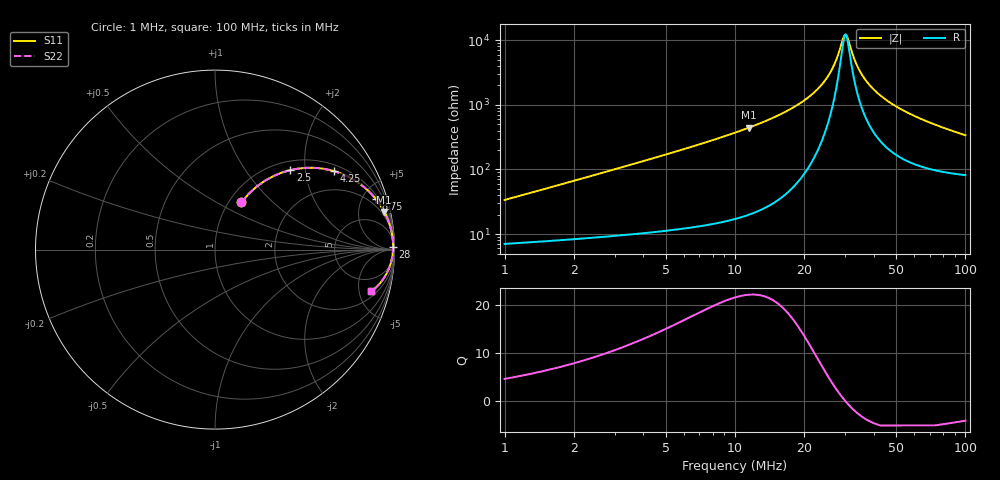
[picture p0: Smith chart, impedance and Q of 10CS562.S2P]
! Coilcraft 1008CS-562 Chip Inductor
! 02 July 2002
# MHZ S MA R 50
!Freq  MagS11  AngS11  MagS21  AngS21  MagS12  AngS12  MagS22  AngS22
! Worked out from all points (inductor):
!   397 points, 1 MHz to 100 MHz, reference 50 ohm
!   read as one part in series: L = 5.25 uH near 1.25 MHz
!   highest Q = 22.2 at 11.5 MHz (marker M1), where L = 6.14 uH
!   self-resonance near 30 MHz
!   S11 on the Smith chart (normalised r, x): 1 MHz: 1.14, +0.66; 2.5 MHz: 1.18, +1.66; 4.25 MHz: 1.21, +2.86; 8.75 MHz: 1.31, +6.30; 28 MHz: open; 100 MHz: 2.63, -6.57
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1  0.3014 60.8  0.8927 -17.1  0.8927 -17.1  0.3014 60.8
1.75  0.477 53.9  0.8157 -28.2  0.8157 -28.2  0.477 53.9
2.5  0.6099 46.6  0.7303 -37.3  0.7303 -37.3  0.6099 46.6
4.25  0.7934 33.5  0.5532 -52.3  0.5532 -52.3  0.7934 33.5
6.25  0.888 24.3  0.4116 -62.4  0.4116 -62.4  0.888 24.3
8.75  0.9402 17.3  0.2981 -69.9  0.2981 -69.9  0.9402 17.3
11.5  0.9663 12.6  0.2176 -74.9  0.2176 -74.9  0.9663 12.6
17.5  0.9871 6.5  0.1136 -80.2  0.1136 -80.2  0.9871 6.5
24  0.9924 2.6  0.04657 -79.3  0.04657 -79.3  0.9924 2.6
26.25  0.9927 1.6  0.02887 -74.5  0.02887 -74.5  0.9927 1.6
28  0.9925 0.9  0.01684 -63.1  0.01684 -63.1  0.9925 0.9
29.5  0.9921 0.3  0.009177 -31.0  0.009177 -31.0  0.9921 0.3
30.25  0.9919 -0.0  0.00809 1.4  0.00809 1.4  0.9919 -0.0
30.75  0.9917 -0.2  0.00895 22.5  0.00895 22.5  0.9917 -0.2
32.75  0.9909 -0.9  0.01828 59.6  0.01828 59.6  0.9909 -0.9
34  0.9902 -1.3  0.02519 66.5  0.02519 66.5  0.9902 -1.3
36.75  0.9885 -2.2  0.04023 72.3  0.04023 72.3  0.9885 -2.2
40.25  0.9859 -3.3  0.05833 74.4  0.05833 74.4  0.9859 -3.3
50.5  0.9759 -5.9  0.1053 73.8  0.1053 73.8  0.9759 -5.9
67  0.9548 -9.5  0.1683 69.7  0.1683 69.7  0.9548 -9.5
83.5  0.9295 -12.5  0.2211 65.3  0.2211 65.3  0.9295 -12.5
100  0.9016 -15.0  0.2665 61.0  0.2665 61.0  0.9016 -15.0
